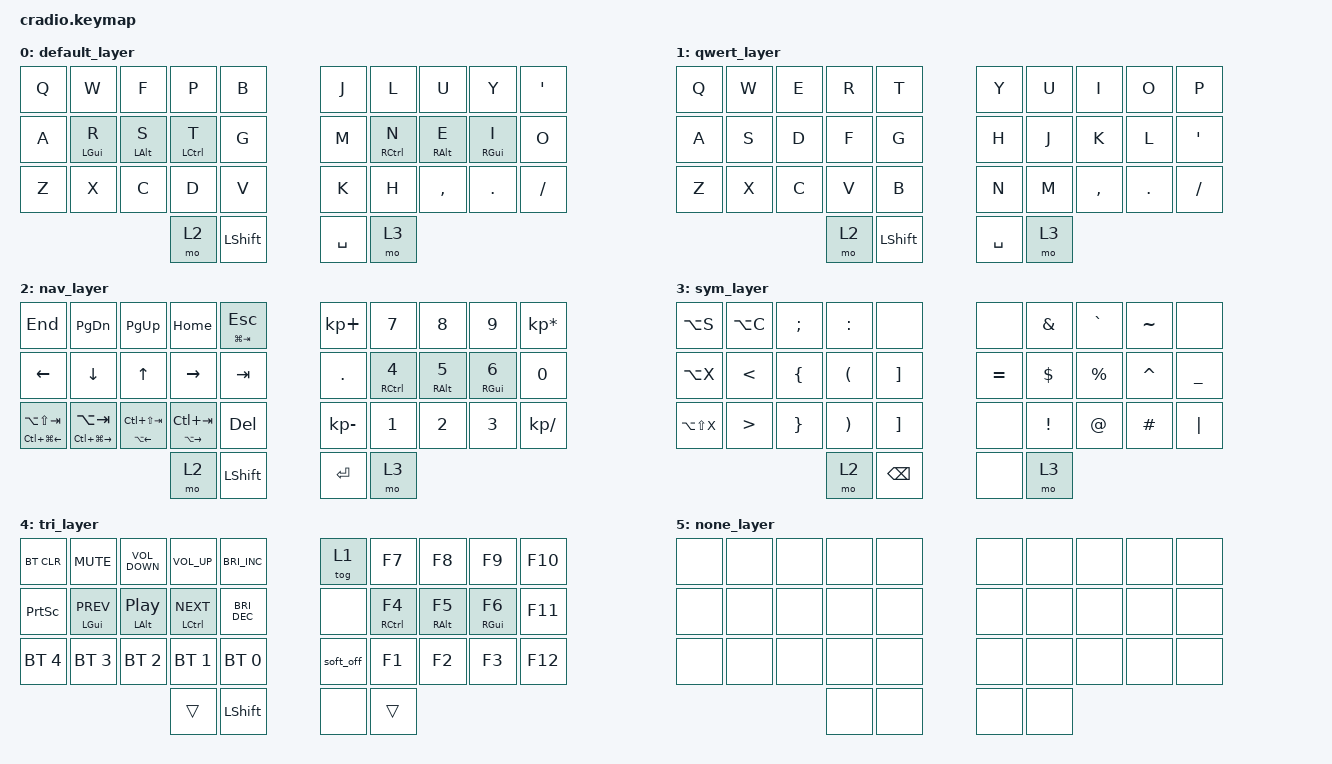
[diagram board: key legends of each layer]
/*
 * Copyright (c) 2020 The ZMK Contributors
 *
 * SPDX-License-Identifier: MIT
 */

#include <behaviors.dtsi>
#include <dt-bindings/zmk/bt.h>
#include <dt-bindings/zmk/keys.h>

/ {
    macros {
    };

    behaviors {
        hm: homerow_mods {
            compatible = "zmk,behavior-hold-tap";
            #binding-cells = <2>;
            tapping-term-ms = <300>;
            quick-tap-ms = <0>;
            flavor = "tap-preferred";
            bindings = <&kp>, <&kp>;
        };
    };

    conditional_layers {
        compatible = "zmk,conditional-layers";

        tri_layer {
            if-layers = <2 3>;
            then-layer = <4>;
        };
    };

    combos {
        compatible = "zmk,combos";

        combo_tognone {
            timeout-ms = <300>;
            key-positions = <0 9 30 33>;
            bindings = <&tog 5>;
        };
    };

    keymap {
        compatible = "zmk,keymap";

        default_layer {
            bindings = <
&kp Q  &kp W       &kp F       &kp P        &kp B             &kp J      &kp L        &kp U       &kp Y       &kp SQT
&kp A  &hm LGUI R  &hm LALT S  &hm LCTRL T  &kp G             &kp M      &hm RCTRL N  &hm RALT E  &hm RGUI I  &kp O
&kp Z  &kp X       &kp C       &kp D        &kp V             &kp K      &kp H        &kp COMMA   &kp DOT     &kp SLASH
                               &mo 2        &kp LEFT_SHIFT    &kp SPACE  &mo 3
            >;
        };

        qwert_layer {
            bindings = <
&kp Q  &kp W  &kp E  &kp R  &kp T             &kp Y      &kp U  &kp I      &kp O    &kp P
&kp A  &kp S  &kp D  &kp F  &kp G             &kp H      &kp J  &kp K      &kp L    &kp SQT
&kp Z  &kp X  &kp C  &kp V  &kp B             &kp N      &kp M  &kp COMMA  &kp DOT  &kp SLASH
                     &mo 2  &kp LEFT_SHIFT    &kp SPACE  &mo 3
            >;
        };

        nav_layer {
            bindings = <
&kp END                       &kp PAGE_DOWN              &kp PAGE_UP               &kp HOME               &hm LG(TAB) ESCAPE    &kp KP_PLUS   &kp N7        &kp N8       &kp N9       &kp KP_MULTIPLY
&kp LEFT_ARROW                &kp DOWN_ARROW             &kp UP_ARROW              &kp RIGHT_ARROW        &kp TAB               &kp DOT       &hm RCTRL N4  &hm RALT N5  &hm RGUI N6  &kp N0
&hm LC(LG(LEFT)) LA(LS(TAB))  &hm LC(LG(RIGHT)) LA(TAB)  &hm LA(LEFT) LC(LS(TAB))  &hm LA(RIGHT) LC(TAB)  &kp DELETE            &kp KP_MINUS  &kp N1        &kp N2       &kp N3       &kp KP_DIVIDE
                                                                                   &mo 2                  &kp LEFT_SHIFT        &kp RETURN    &mo 3
            >;
        };

        sym_layer {
            bindings = <
&kp LA(S)      &kp LA(C)  &kp SEMICOLON  &kp COLON  &none            &none      &kp AMPS  &kp GRAVE  &kp TILDE  &none
&kp LA(X)      &kp LT     &kp LBRC       &kp LPAR   &kp RBKT         &kp EQUAL  &kp DLLR  &kp PRCNT  &kp CARET  &kp UNDER
&kp LA(LS(X))  &kp GT     &kp RBRC       &kp RPAR   &kp RBKT         &none      &kp EXCL  &kp AT     &kp HASH   &kp PIPE
                                         &mo 2      &kp BACKSPACE    &none      &mo 3
            >;
        };

        tri_layer {
            bindings = <
&bt BT_CLR    &kp C_MUTE       &kp C_VOLUME_DOWN      &kp C_VOLUME_UP   &kp C_BRIGHTNESS_INC    &tog 1     &kp F7        &kp F8       &kp F9       &kp F10
&kp PSCRN     &hm LGUI C_PREV  &hm LALT C_PLAY_PAUSE  &hm LCTRL C_NEXT  &kp C_BRIGHTNESS_DEC    &none      &hm RCTRL F4  &hm RALT F5  &hm RGUI F6  &kp F11
&bt BT_SEL 4  &bt BT_SEL 3     &bt BT_SEL 2           &bt BT_SEL 1      &bt BT_SEL 0            &soft_off  &kp F1        &kp F2       &kp F3       &kp F12
                                                      &trans            &kp LEFT_SHIFT          &none      &trans
            >;
        };

        none_layer {
            bindings = <
&none  &none  &none  &none  &none    &none  &none  &none  &none  &none
&none  &none  &none  &none  &none    &none  &none  &none  &none  &none
&none  &none  &none  &none  &none    &none  &none  &none  &none  &none
                     &none  &none    &none  &none
            >;
        };
    };
};
